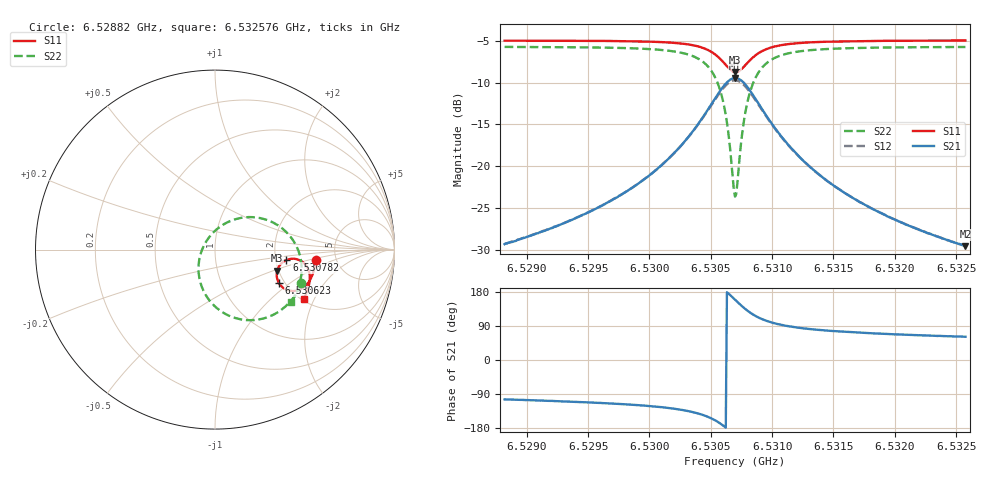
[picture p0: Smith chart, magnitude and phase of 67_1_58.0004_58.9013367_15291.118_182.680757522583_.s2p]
#  HZ  S  RI  R  50.00
! Rohde & Schwarz Vector Network Analyzer
! Rohde-Schwarz,ZNB20-2Port,1311601062101988,3.16
! Created: UTC 3/21/2024, 12:53:14 AM
! freq[Hz]  re:S11  im:S11  re:S21  im:S21  re:S12  im:S12  re:S22  im:S22
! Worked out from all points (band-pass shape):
!   401 points, 6.52882 GHz to 6.532576 GHz, reference 50 ohm
!   highest |S21| = -9.45 dB at 6.530698 GHz (marker M1); lowest = -29.6 dB at 6.532576 GHz (marker M2)
!   |S21| within 3 dB of the highest: 6.530511 GHz to 6.530887 GHz (375.7 kHz wide, 0.00575 % of centre)
!   lowest |S11| = -8.7 dB at 6.530698 GHz (marker M3), VSWR 2.15, Z = 98.2 - j26.7 ohm
!   |S11| at or under -10 dB: nowhere
!   |S22| runs from -23.7 to -5.7 dB; largest |S21 - S12| = 0.014
!   S11 on the Smith chart (normalised r, x): 6.52882 GHz: 3.48, -0.59; 6.530623 GHz: 1.87, -0.84; 6.530782 GHz: 2.29, -0.32; 6.532576 GHz: 2.04, -1.66
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6.5288198e9  0.5608 -0.0574  -0.00823 -0.0331  -0.00887 -0.033  0.4816 -0.1883
6.529449e9  0.5513 -0.1116  -0.0184 -0.0473  -0.0194 -0.0469  0.4491 -0.2502
6.529787e9  0.5409 -0.1448  -0.0307 -0.0614  -0.0323 -0.0606  0.4163 -0.293
6.5300781e9  0.5237 -0.1788  -0.0547 -0.0816  -0.0571 -0.0799  0.3621 -0.341
6.5302941e9  0.4958 -0.2094  -0.0978 -0.1033  -0.101 -0.0998  0.2748 -0.3823
6.5304631e9  0.4452 -0.2301  -0.1786 -0.1109  -0.1811 -0.1028  0.1263 -0.3849
6.530557e9  0.3948 -0.2214  -0.2573 -0.0776  -0.2555 -0.0663  -0.00364 -0.3133
6.5305946e9  0.3722 -0.206  -0.291 -0.0439  -0.2862 -0.032  -0.0539 -0.2491
6.5306228e9  0.3571 -0.1876  -0.3118 -0.00776  -0.304 0.00353  -0.081 -0.1847
6.5306509e9  0.3469 -0.1638  -0.324 0.0366  -0.3135 0.0462  -0.0921 -0.1086
6.5306791e9  0.3438 -0.1364  -0.3234 0.0862  -0.311 0.0926  -0.0811 -0.0273
6.5306979e9  0.3465 -0.1176  -0.3149 0.1194  -0.3018 0.1234  -0.0606 0.025
6.5307167e9  0.3533 -0.0999  -0.2999 0.15  -0.2871 0.1517  -0.0301 0.0723
6.5307542e9  0.3763 -0.0712  -0.2554 0.1986  -0.2444 0.1963  0.0519 0.1429
6.5307824e9  0.398 -0.0579  -0.2156 0.22  -0.2069 0.2166  0.1213 0.1714
6.5308481e9  0.4468 -0.0518  -0.1297 0.2301  -0.1252 0.2262  0.2666 0.172
6.530942e9  0.4921 -0.072  -0.0528 0.1993  -0.051 0.197  0.3919 0.103
6.5310923e9  0.5206 -0.1117  -0.00398 0.1451  -0.00278 0.1443  0.4649 -0.00699
6.531327e9  0.5288 -0.1561  0.0148 0.0952  0.0161 0.0949  0.4828 -0.1112
6.5316181e9  0.5244 -0.1934  0.0188 0.0646  0.0197 0.0643  0.4739 -0.182
6.5319562e9  0.5149 -0.2266  0.0181 0.046  0.0189 0.0458  0.4572 -0.2326
6.5325759e9  0.4931 -0.2761  0.0159 0.0291  0.0165 0.029  0.4252 -0.2932
